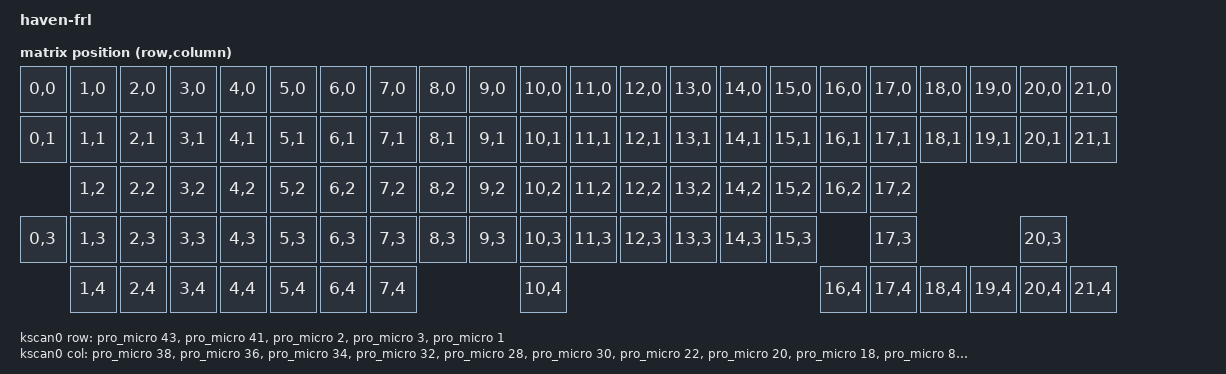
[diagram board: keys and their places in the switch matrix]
/*
 * Copyright (c) 2020 The ZMK Contributors
 *
 * SPDX-License-Identifier: MIT
 */

/dts-v1/;
#include <nordic/nrf52840_qiaa.dtsi>
#include <dt-bindings/zmk/matrix_transform.h>

/ {
	model = "haven-frl";
	compatible = "haven-frl";

	chosen {
		zephyr,code-partition = &code_partition;
		zephyr,sram = &sram0;
		zephyr,flash = &flash0;
		zmk,battery = &fuelgauge;
		zmk,kscan = &kscan0;
		zmk,matrix_transform = &default_transform;
		/* zephyr,console = &cdc_acm_uart; */
	};

    default_transform: keymap_transform_0 {
        compatible = "zmk,matrix-transform";
        columns = <21>;
        rows = <5>;
        map = <
            RC(0,0) RC(1,0) RC(2,0) RC(3,0) RC(4,0) RC(5,0) RC(6,0) RC(7,0) RC(8,0) RC(9,0) RC(10,0) RC(11,0) RC(12,0) RC(13,0) RC(14,0) RC(15,0) RC(16,0) RC(17,0) RC(18,0) RC(19,0) RC(20,0) RC(21,0)
            RC(0,1) RC(1,1) RC(2,1) RC(3,1) RC(4,1) RC(5,1) RC(6,1) RC(7,1) RC(8,1) RC(9,1) RC(10,1) RC(11,1) RC(12,1) RC(13,1) RC(14,1) RC(15,1) RC(16,1) RC(17,1) RC(18,1) RC(19,1) RC(20,1) RC(21,1)
                    RC(1,2) RC(2,2) RC(3,2) RC(4,2) RC(5,2) RC(6,2) RC(7,2) RC(8,2) RC(9,2) RC(10,2) RC(11,2) RC(12,2) RC(13,2) RC(14,2) RC(15,2) RC(16,2) RC(17,2)                           
            RC(0,3) RC(1,3) RC(2,3) RC(3,3) RC(4,3) RC(5,3) RC(6,3) RC(7,3) RC(8,3) RC(9,3) RC(10,3) RC(11,3) RC(12,3) RC(13,3) RC(14,3) RC(15,3)          RC(17,3)                   RC(20,3)
                    RC(1,4) RC(2,4) RC(3,4) RC(4,4) RC(5,4) RC(6,4) RC(7,4)                 RC(10,4)                                              RC(16,4) RC(17,4) RC(18,4) RC(19,4) RC(20,4) RC(21,4)
        >;
    };
	
    kscan0: kscan {
        compatible = "zmk,kscan-gpio-matrix";
        diode-direction = "col2row";

        col-gpios
            = <&pro_micro 38 GPIO_ACTIVE_HIGH> //COL17
            , <&pro_micro 36 GPIO_ACTIVE_HIGH> //COL18
            , <&pro_micro 34 GPIO_ACTIVE_HIGH> //COL19
            , <&pro_micro 32 GPIO_ACTIVE_HIGH> //COL20
            , <&pro_micro 28 GPIO_ACTIVE_HIGH> //COL0
            , <&pro_micro 30 GPIO_ACTIVE_HIGH> //COL1
            , <&pro_micro 22 GPIO_ACTIVE_HIGH> //COL2
            , <&pro_micro 20 GPIO_ACTIVE_HIGH> //COL3
            , <&pro_micro 18 GPIO_ACTIVE_HIGH> //COL4
            , <&pro_micro 8 GPIO_ACTIVE_HIGH> //COL5
            , <&pro_micro 16 GPIO_ACTIVE_HIGH> //COL6
            , <&pro_micro 14 GPIO_ACTIVE_HIGH> //COL7
            , <&pro_micro 12 GPIO_ACTIVE_HIGH> //COL8
            , <&pro_micro 10 GPIO_ACTIVE_HIGH> //COL9
            , <&pro_micro 9 GPIO_ACTIVE_HIGH> //COL10
            , <&pro_micro 8 GPIO_ACTIVE_HIGH> //COL11
            , <&pro_micro 7 GPIO_ACTIVE_HIGH> //COL12
            , <&pro_micro 6 GPIO_ACTIVE_HIGH> //COL13
            , <&pro_micro 4 GPIO_ACTIVE_HIGH> //COL14
            , <&pro_micro 33 GPIO_ACTIVE_HIGH> //COL15
            , <&pro_micro 42 GPIO_ACTIVE_HIGH> //COL16
            ;

        row-gpios
            = <&pro_micro 43 (GPIO_ACTIVE_HIGH | GPIO_PULL_DOWN)> //ROW0
            , <&pro_micro 41 (GPIO_ACTIVE_HIGH | GPIO_PULL_DOWN)> //ROW1
            , <&pro_micro 2 (GPIO_ACTIVE_HIGH | GPIO_PULL_DOWN)>  //ROW2
            , <&pro_micro 3 (GPIO_ACTIVE_HIGH | GPIO_PULL_DOWN)>  //ROW3
            , <&pro_micro 1 (GPIO_ACTIVE_HIGH | GPIO_PULL_DOWN)>  //ROW4
            ;
    };
};

&gpio0 {
	status = "okay";
};

&gpio1 {
	status = "okay";
};

&usbd {
    status = "okay";
};

&pinctrl {
       i2c0_default: i2c0_default {
               group1 {
                       psels = <NRF_PSEL(TWIM_SDA, 0, 5)>,
                               <NRF_PSEL(TWIM_SCL, 1, 9)>;
               };
       };

       i2c0_sleep: i2c0_sleep {
               group1 {
                       psels = <NRF_PSEL(TWIM_SDA, 0, 5)>,
                               <NRF_PSEL(TWIM_SCL, 1, 9)>;
                       low-power-enable;
               };
       };
};

&i2c0 {
	status = "okay";
	compatible = "nordic,nrf-twim";
	pinctrl-0 = <&i2c0_default>;
    pinctrl-1 = <&i2c0_sleep>;
    pinctrl-names = "default", "sleep";
	clock-frequency = <100000>;

	fuelgauge: max17048@36 {
		compatible = "zmk,maxim-max17048";
		reg = <0x36>;
	};
};

&flash0 {
	/*
	 * For more information, see:
	 * http://docs.zephyrproject.org/latest/devices/dts/flash_partitions.html
	 */
	partitions {
		compatible = "fixed-partitions";
		#address-cells = <1>;
		#size-cells = <1>;

		sd_partition: partition@0 {
			label = "softdevice";
			reg = <0x00000000 0x00026000>;
		};
		code_partition: partition@26000 {
			label = "code_partition";
			reg = <0x00026000 0x000c6000>;
		};

		/*
		 * The flash starting at 0x000ec000 and ending at
		 * 0x000f3fff is reserved for use by the application.
		 */

		/*
		 * Storage partition will be used by FCB/LittleFS/NVS
		 * if enabled.
		 */
		storage_partition: partition@ec000 {
			label = "storage";
			reg = <0x000ec000 0x00008000>;
		};

		boot_partition: partition@f4000 {
			label = "adafruit_boot";
			reg = <0x000f4000 0x0000c000>;
		};
	};
};
